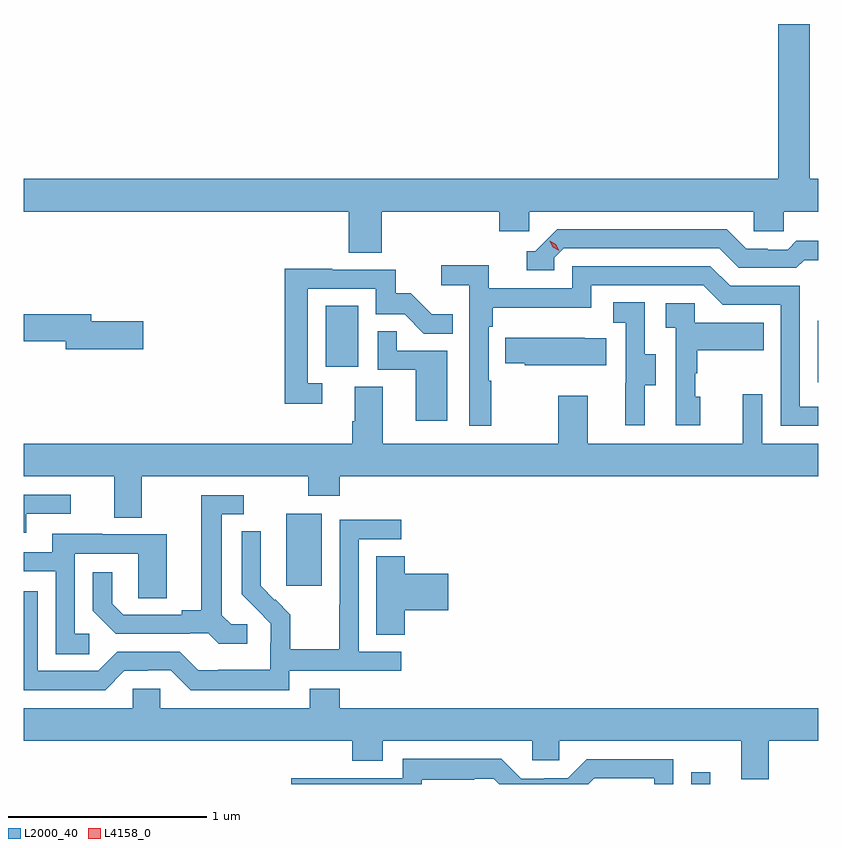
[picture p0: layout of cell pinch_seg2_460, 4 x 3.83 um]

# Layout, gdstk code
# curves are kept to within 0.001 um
import gdstk
lib = gdstk.Library(unit=1e-6, precision=1e-09)
def R(c, l, rs):  # rectangles x0, y0, x1, y1
    for r in rs: c.add(gdstk.rectangle(r[:2], r[2:], *l))
def P(c, l, *ps):  # polygons
    for p in ps: c.add(gdstk.Polygon(p, *l))
L2000_40 = (2000, 40)
L4158_0 = (4158, 0)

pinch_seg2_460 = lib.new_cell('pinch_seg2_460')
R(pinch_seg2_460, L2000_40, [(905.533,588.811,905.629,588.871), (903.494,589.809,903.673,590.17), (906.168,590.832,906.172,591.142), (903.692,590.91,903.856,591.217)])
P(pinch_seg2_460, L2000_40, [(905.997,591.692),(906.172,591.692),(906.172,591.856),(906.129,591.856),(906.129,592.636),(905.969,592.636),(905.969,591.856),(902.172,591.856),(902.172,591.692),(903.809,591.692),(903.809,591.484),(903.974,591.484),(903.974,591.692),(904.565,591.692),(904.565,591.594),(904.716,591.594),(904.716,591.692),(905.847,591.692),(905.847,591.594),(905.997,591.594)],
  [(904.842,591.459),(904.89,591.507),(905.673,591.507),(905.772,591.408),(906.061,591.408),(906.1,591.447),(906.172,591.447),(906.172,591.544),(906.061,591.544),(906.019,591.501),(905.916,591.501),(905.916,591.504),(905.809,591.504),(905.71,591.603),(904.857,591.603),(904.746,591.492),(904.703,591.492),(904.703,591.396),(904.842,591.396)],
  [(904.525,590.84),(904.512,590.84),(904.512,591.113),(904.532,591.113),(904.532,591.209),(905.028,591.209),(905.028,591.321),(905.592,591.321),(905.691,591.222),(905.982,591.222),(905.982,590.613),(906.172,590.613),(906.172,590.709),(906.078,590.709),(906.078,591.318),(905.728,591.318),(905.629,591.417),(904.932,591.417),(904.932,591.306),(904.514,591.306),(904.514,591.422),(904.275,591.422),(904.275,591.32),(904.416,591.32),(904.416,590.613),(904.525,590.613)],
  [(903.676,590.829),(903.603,590.829),(903.603,591.303),(903.945,591.303),(903.945,591.174),(904.089,591.174),(904.187,591.076),(904.331,591.076),(904.331,591.175),(904.227,591.175),(904.12,591.282),(904.044,591.282),(904.044,591.399),(903.725,591.399),(903.725,591.404),(903.487,591.404),(903.487,590.724),(903.676,590.724)],
  [(905.299,590.818),(905.353,590.818),(905.353,590.973),(905.298,590.973),(905.298,591.236),(905.139,591.236),(905.139,591.133),(905.202,591.133),(905.202,590.829),(905.201,590.829),(905.201,590.616),(905.299,590.616)],
  [(905.578,590.76),(905.553,590.76),(905.553,590.879),(905.563,590.879),(905.563,590.993),(905.897,590.993),(905.897,591.133),(905.55,591.133),(905.55,591.231),(905.403,591.231),(905.403,591.107),(905.454,591.107),(905.454,590.616),(905.578,590.616)],
  [(902.773,591.14),(902.512,591.14),(902.512,591.176),(902.172,591.176),(902.172,591.04),(902.384,591.04),(902.384,590.998),(902.773,590.998)],
  [(904.303,590.991),(904.049,590.991),(904.049,591.089),(903.954,591.089),(903.954,590.895),(904.145,590.895),(904.145,590.64),(904.303,590.64)],
  [(905.105,591.055),(904.997,591.055),(904.997,591.058),(904.597,591.058),(904.597,590.929),(904.695,590.929),(904.695,590.918),(905.105,590.918)],
  [(902.767,590.36),(903.604,590.36),(903.604,590.261),(903.764,590.261),(903.764,590.36),(906.172,590.36),(906.172,590.524),(905.889,590.524),(905.889,590.773),(905.792,590.773),(905.792,590.524),(905.011,590.524),(905.011,590.764),(904.864,590.764),(904.864,590.524),(903.979,590.524),(903.979,590.81),(903.839,590.81),(903.839,590.636),(903.827,590.636),(903.827,590.524),(902.172,590.524),(902.172,590.36),(902.627,590.36),(902.627,590.152),(902.767,590.152)],
  [(902.185,590.172),(902.41,590.172),(902.41,590.268),(902.172,590.268),(902.172,590.076),(902.185,590.076)],
  [(903.298,589.614),(903.216,589.614),(903.169,589.661),(903.169,590.169),(903.28,590.169),(903.28,590.265),(903.065,590.265),(903.065,589.685),(902.969,589.685),(902.969,589.662),(902.674,589.662),(902.617,589.719),(902.617,589.876),(902.52,589.876),(902.52,589.682),(902.636,589.566),(903.008,589.566),(903.008,589.569),(903.102,589.569),(903.154,589.517),(903.298,589.517)],
  [(903.51,589.38),(904.072,589.38),(904.072,589.476),(903.858,589.476),(903.858,590.043),(904.072,590.043),(904.072,590.142),(903.762,590.142),(903.762,589.712),(903.76,589.712),(903.76,589.489),(903.515,589.489),(903.515,589.663),(903.438,589.74),(903.435,589.737),(903.365,589.808),(903.366,590.084),(903.27,590.084),(903.27,589.766),(903.416,589.618),(903.416,589.521),(903.414,589.521),(903.414,589.387),(903.151,589.387),(903.151,589.383),(903.051,589.383),(902.958,589.476),(902.643,589.476),(902.547,589.38),(902.244,589.38),(902.244,589.782),(902.172,589.782),(902.172,589.284),(902.583,589.284),(902.679,589.38),(902.798,589.38),(902.798,589.383),(902.913,589.383),(903.013,589.283),(903.51,589.283)],
  [(902.503,589.566),(902.43,589.566),(902.43,589.971),(902.748,589.971),(902.748,589.747),(902.893,589.747),(902.893,590.067),(902.569,590.067),(902.569,590.071),(902.315,590.071),(902.315,589.977),(902.172,589.977),(902.172,589.881),(902.334,589.881),(902.334,589.465),(902.503,589.465)],
  [(904.091,589.685),(904.309,589.685),(904.309,589.868),(904.091,589.868),(904.091,589.958),(903.947,589.958),(903.947,589.561),(904.091,589.561)],
  [(905.923,589.028),(906.172,589.028),(906.172,589.192),(903.764,589.192),(903.764,589.291),(903.611,589.291),(903.611,589.192),(902.859,589.192),(902.859,589.29),(902.721,589.29),(902.721,589.192),(902.172,589.192),(902.172,589.028),(903.827,589.028),(903.827,588.929),(903.979,588.929),(903.979,589.028),(904.731,589.028),(904.731,588.93),(904.869,588.93),(904.869,589.028),(905.783,589.028),(905.783,588.834),(905.923,588.834)],
  [(904.176,588.833),(904.439,588.833),(904.439,588.837),(904.539,588.837),(904.565,588.811),(905.014,588.811),(905.043,588.84),(905.346,588.84),(905.346,588.811),(905.442,588.811),(905.442,588.936),(905.007,588.936),(904.911,588.84),(904.793,588.84),(904.793,588.837),(904.677,588.837),(904.577,588.937),(904.08,588.937),(904.08,588.84),(903.519,588.84),(903.519,588.811),(904.176,588.811)])
P(pinch_seg2_460, L4158_0, [(904.867,591.494),(904.836,591.513),(904.82,591.546),(904.82,591.546),(904.82,591.546),(904.851,591.527),(904.867,591.495),(904.867,591.494)])

lib.write_gds('pinch_seg2_460.gds')
